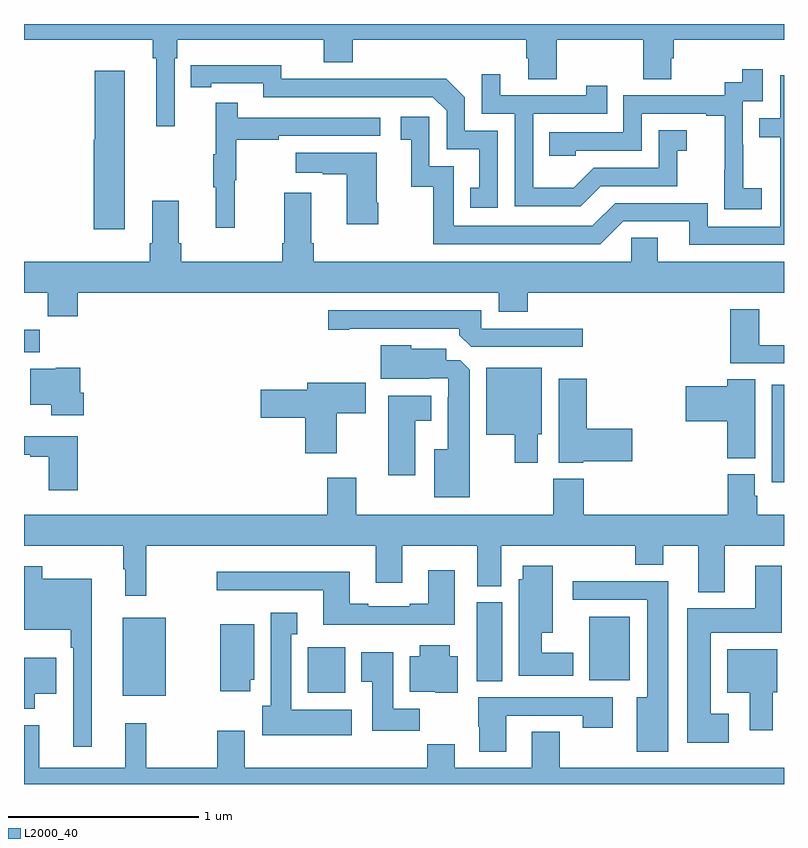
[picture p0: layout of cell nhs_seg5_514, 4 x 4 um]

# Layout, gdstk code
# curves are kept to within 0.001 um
import gdstk
lib = gdstk.Library(unit=1e-6, precision=1e-09)
def R(c, l, rs):  # rectangles x0, y0, x1, y1
    for r in rs: c.add(gdstk.rectangle(r[:2], r[2:], *l))
def P(c, l, *ps):  # polygons
    for p in ps: c.add(gdstk.Polygon(p, *l))
L2000_40 = (2000, 40)

nhs_seg5_514 = lib.new_cell('nhs_seg5_514')
R(nhs_seg5_514, L2000_40, [(143.519,897.263,143.746,897.673), (144.494,897.278,144.691,897.52), (145.382,897.34,145.516,897.756), (145.976,897.344,146.188,897.679), (146.936,898.388,147,898.9), (143,899.072,143.084,899.191)])
P(nhs_seg5_514, L2000_40, [(143.793,900.62),(143.807,900.62),(143.807,900.716),(144.578,900.716),(144.578,900.599),(144.731,900.599),(144.731,900.716),(145.643,900.716),(145.643,900.618),(145.655,900.618),(145.655,900.508),(145.803,900.508),(145.803,900.716),(146.26,900.716),(146.26,900.508),(146.407,900.508),(146.407,900.618),(146.42,900.618),(146.42,900.716),(147,900.716),(147,900.799),(143,900.799),(143,900.716),(143.677,900.716),(143.677,900.62),(143.696,900.62),(143.696,900.261),(143.793,900.261)],
  [(145.494,900.237),(145.32,900.237),(145.32,900.414),(145.222,900.512),(144.814,900.512),(144.814,900.51),(144.354,900.51),(144.354,900.583),(143.878,900.582),(143.878,900.466),(143.986,900.466),(143.986,900.486),(144.258,900.486),(144.258,900.414),(145.152,900.414),(145.224,900.342),(145.224,900.141),(145.397,900.141),(145.397,899.937),(145.348,899.937),(145.348,899.832),(145.494,899.832)],
  [(146.884,899.935),(146.786,899.935),(146.786,900.164),(146.784,900.164),(146.784,900.393),(146.889,900.393),(146.889,900.562),(146.781,900.562),(146.781,900.492),(146.688,900.492),(146.688,900.423),(146.154,900.423),(146.154,900.228),(145.765,900.228),(145.765,900.105),(145.905,900.105),(145.905,900.132),(146.25,900.132),(146.25,900.327),(146.591,900.327),(146.591,900.315),(146.687,900.315),(146.687,900.031),(146.686,900.031),(146.686,899.825),(146.884,899.825)],
  [(143.53,900.553),(143.372,900.553),(143.372,900.189),(143.366,900.189),(143.366,899.718),(143.53,899.718)],
  [(146.035,899.946),(146.439,899.946),(146.439,900.131),(146.488,900.131),(146.488,900.241),(146.34,900.241),(146.34,900.042),(145.998,900.042),(145.894,899.938),(145.68,899.938),(145.68,900.327),(146.069,900.327),(146.069,900.475),(145.958,900.475),(145.958,900.423),(145.507,900.423),(145.507,900.535),(145.41,900.535),(145.41,900.327),(145.584,900.327),(145.584,899.841),(145.93,899.841)],
  [(147,900.528),(146.979,900.528),(146.979,900.303),(146.869,900.303),(146.869,900.202),(146.979,900.202),(146.979,899.733),(146.598,899.733),(146.598,899.856),(146.112,899.856),(145.992,899.736),(145.263,899.736),(145.263,900.051),(145.134,900.051),(145.134,900.31),(144.984,900.31),(144.984,900.189),(145.037,900.189),(145.037,899.943),(145.155,899.943),(145.155,899.64),(146.034,899.64),(146.154,899.76),(146.501,899.76),(146.501,899.637),(147,899.637)],
  [(144.11,899.976),(144.118,899.976),(144.118,900.19),(144.341,900.19),(144.341,900.21),(144.874,900.21),(144.874,900.306),(144.125,900.306),(144.125,900.385),(144.008,900.385),(144.008,900.113),(143.997,900.113),(143.997,899.939),(144.008,899.939),(144.008,899.727),(144.11,899.727)],
  [(144.864,899.857),(144.856,899.857),(144.856,900.121),(144.429,900.121),(144.429,900.017),(144.572,900.017),(144.572,900.007),(144.698,900.007),(144.698,899.745),(144.864,899.745)],
  [(143.282,899.384),(145.499,899.384),(145.499,899.285),(145.652,899.285),(145.652,899.384),(147,899.384),(147,899.548),(146.335,899.548),(146.335,899.675),(146.196,899.675),(146.196,899.548),(144.524,899.548),(144.524,899.644),(144.511,899.644),(144.511,899.911),(144.371,899.911),(144.371,899.644),(144.359,899.644),(144.359,899.548),(143.828,899.548),(143.828,899.644),(143.815,899.644),(143.815,899.869),(143.675,899.869),(143.675,899.644),(143.663,899.644),(143.663,899.548),(143,899.548),(143,899.384),(143.125,899.384),(143.125,899.26),(143.282,899.26)],
  [(147,899.109),(146.869,899.109),(146.869,899.299),(146.717,899.299),(146.717,899.013),(147,899.013)],
  [(145.942,899.196),(145.407,899.196),(145.407,899.292),(144.6,899.292),(144.6,899.191),(144.712,899.191),(144.712,899.196),(145.292,899.196),(145.292,899.162),(145.353,899.1),(145.942,899.1)],
  [(145.345,898.979),(145.296,899.028),(145.222,899.028),(145.222,899.089),(145.038,899.089),(145.038,899.107),(144.878,899.107),(144.878,898.931),(145.133,898.931),(145.133,898.935),(145.233,898.935),(145.233,898.835),(145.229,898.835),(145.229,898.561),(145.16,898.561),(145.16,898.307),(145.345,898.307)],
  [(143.315,898.857),(143.297,898.857),(143.297,898.99),(143.166,898.99),(143.166,898.984),(143.033,898.984),(143.033,898.796),(143.144,898.796),(143.144,898.739),(143.315,898.739)],
  [(145.705,898.641),(145.726,898.641),(145.726,898.99),(145.433,898.99),(145.433,898.637),(145.583,898.637),(145.583,898.491),(145.705,898.491)],
  [(145.944,898.499),(146.2,898.499),(146.2,898.67),(145.961,898.67),(145.961,898.933),(145.814,898.933),(145.814,898.49),(145.944,898.49)],
  [(146.848,898.928),(146.702,898.928),(146.702,898.892),(146.484,898.892),(146.484,898.709),(146.702,898.709),(146.702,898.513),(146.848,898.513)],
  [(144.646,898.75),(144.799,898.75),(144.799,898.912),(144.491,898.912),(144.491,898.874),(144.246,898.874),(144.246,898.727),(144.479,898.727),(144.479,898.539),(144.646,898.539)],
  [(145.06,898.712),(145.144,898.712),(145.144,898.843),(144.917,898.843),(144.917,898.425),(145.06,898.425)],
  [(143.282,898.629),(143,898.629),(143,898.533),(143.033,898.533),(143.033,898.521),(143.129,898.521),(143.129,898.344),(143.282,898.344)],
  [(143.644,898.052),(144.851,898.052),(144.851,897.858),(144.991,897.858),(144.991,898.052),(145.385,898.052),(145.385,897.841),(145.513,897.841),(145.513,898.052),(146.218,898.052),(146.218,897.953),(146.365,897.953),(146.365,898.052),(146.549,898.052),(146.549,897.809),(146.689,897.809),(146.689,898.052),(147,898.052),(147,898.216),(146.858,898.216),(146.858,898.317),(146.845,898.317),(146.845,898.428),(146.705,898.428),(146.705,898.216),(145.946,898.216),(145.946,898.405),(145.786,898.405),(145.786,898.216),(144.748,898.216),(144.748,898.411),(144.596,898.411),(144.596,898.216),(143,898.216),(143,898.052),(143.523,898.052),(143.523,897.929),(143.534,897.929),(143.534,897.789),(143.644,897.789)],
  [(145.891,897.49),(145.726,897.49),(145.726,897.596),(145.783,897.596),(145.783,897.949),(145.625,897.949),(145.625,897.876),(145.604,897.876),(145.604,897.368),(145.891,897.368)],
  [(146.71,897.169),(146.614,897.169),(146.614,897.596),(146.989,897.596),(146.989,897.949),(146.849,897.949),(146.849,897.724),(146.492,897.724),(146.492,897.017),(146.71,897.017)],
  [(143.356,897.88),(143.095,897.88),(143.095,897.946),(143,897.946),(143,897.611),(143.247,897.611),(143.247,897.515),(143.259,897.515),(143.259,896.994),(143.356,896.994)],
  [(145.267,897.925),(145.127,897.925),(145.127,897.748),(145.031,897.748),(145.031,897.735),(144.811,897.735),(144.811,897.748),(144.715,897.748),(144.715,897.916),(144.015,897.916),(144.015,897.819),(144.575,897.819),(144.575,897.638),(145.267,897.638)],
  [(146.392,897.866),(145.887,897.866),(145.887,897.768),(146.279,897.768),(146.279,897.256),(146.225,897.256),(146.225,896.97),(146.392,896.97)],
  [(144.724,897.19),(144.406,897.19),(144.406,897.587),(144.439,897.587),(144.439,897.7),(144.299,897.7),(144.299,897.21),(144.254,897.21),(144.254,897.056),(144.724,897.056)],
  [(144.19,897.348),(144.211,897.348),(144.211,897.64),(144.032,897.64),(144.032,897.288),(144.19,897.288)],
  [(145.282,897.472),(145.24,897.472),(145.24,897.529),(145.082,897.529),(145.082,897.472),(145.031,897.472),(145.031,897.284),(145.164,897.284),(145.164,897.278),(145.282,897.278)],
  [(146.941,897.282),(146.965,897.282),(146.965,897.508),(146.702,897.508),(146.702,897.278),(146.819,897.278),(146.819,897.081),(146.941,897.081)],
  [(145.082,897.196),(144.943,897.196),(144.943,897.493),(144.776,897.493),(144.776,897.337),(144.833,897.337),(144.833,897.078),(145.082,897.078)],
  [(143.056,897.275),(143.17,897.275),(143.17,897.463),(143,897.463),(143,897.194),(143.056,897.194)],
  [(145.537,897.159),(145.942,897.159),(145.942,897.096),(146.098,897.096),(146.098,897.255),(145.39,897.255),(145.39,897.1),(145.397,897.1),(145.397,896.97),(145.537,896.97)],
  [(147,896.884),(145.821,896.884),(145.821,897.074),(145.673,897.074),(145.673,896.884),(145.267,896.884),(145.267,897.008),(145.123,897.008),(145.123,896.884),(144.163,896.884),(144.163,897.079),(144.016,897.079),(144.016,896.884),(143.644,896.884),(143.644,897.118),(143.534,897.118),(143.534,896.884),(143.081,896.884),(143.081,897.109),(143,897.109),(143,896.799),(147,896.799)])

lib.write_gds('nhs_seg5_514.gds')
